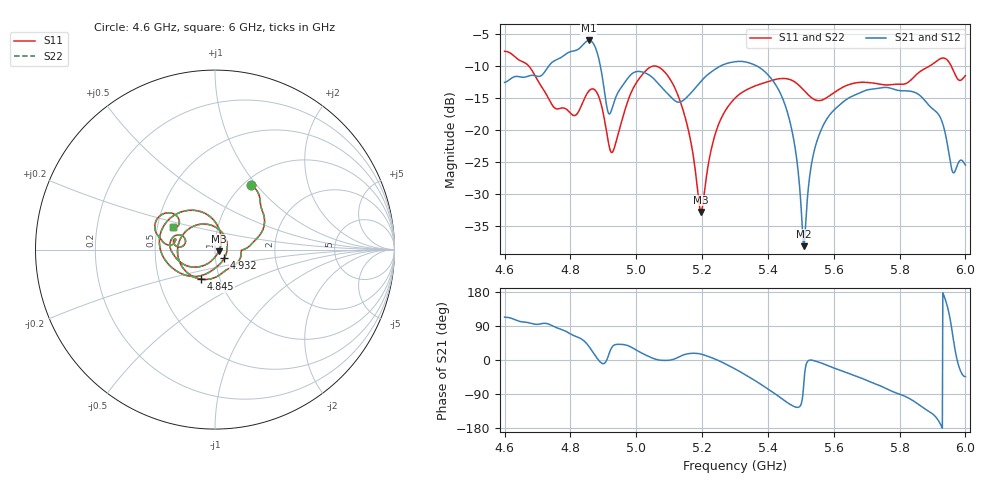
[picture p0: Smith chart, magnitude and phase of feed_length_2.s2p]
! TOUCHSTONE file generated by CST MICROWAVE STUDIO
! Date and time: Mon Dec  2 05:46:47 2024
! Project name: test_tuning.cst
! Parameters = {airCoaxOuterDiameter=3; chamferAngle=45; chamferWidth=24; connectorLength=10; drillingHoleDiameter=4.1; feedLength=30; flareDiameter=130; flareLength=70; gratingDistance=0; gratingGap=1.90274; outletLength=30; polarizerLength=134; probe1Diameter=1.3; probe1Distance=14; probe1Length=1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
! Header version: 2024
! Port assignment regex: !\s*Touchstone port\s*([0-9]+)\s*=\s*(CST MWS port|CST DES external port|CST DES block port)\s*(.+)\s* \(\"(.*)\"\)(\s*mode\s*([0-9]+))?.*
! Touchstone port assignment:
! Touchstone port 1 = CST MWS port 1 ("Input1")
! Touchstone port 2 = CST MWS port 2 ("Input2")
# GHz S MA R 50
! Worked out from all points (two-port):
!   1001 points, 4.6 GHz to 6 GHz, reference 50 ohm
!   highest |S21| = -5.99 dB at 4.856 GHz (marker M1); lowest = -38.2 dB at 5.509 GHz (marker M2)
!   |S21| within 3 dB of the highest: 4.759 GHz to 4.887 GHz (128.1 MHz wide, 2.66 % of centre)
!   lowest |S11| = -32.8 dB at 5.196 GHz (marker M3), VSWR 1.05, Z = 52.1 - j0.96 ohm
!   |S11| at or under -10 dB: 4.674 GHz to 5.052 GHz (378 MHz wide, 7.77 % of centre); 5.059 GHz to 5.891 GHz (832.2 MHz wide, 15.2 % of centre); 5.957 GHz to end of sweep
!   |S22| runs from -32.8 to -7.7 dB; largest |S21 - S12| = 1.2e-06
!   S11 on the Smith chart (normalised r, x): 4.6 GHz: 1.08, +0.94; 4.845 GHz: 0.82, -0.28; 4.932 GHz: 1.10, -0.11; 6 GHz: 0.60, +0.17
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4.6  0.4127 61.1  0.2356 113.1  0.2356 113.1  0.4127 61.1
4.8338  0.1562 -90.7  0.4517 55.2  0.4517 55.2  0.1562 -90.7
4.845  0.1814 -114.6  0.4844 47.3  0.4844 47.3  0.1814 -114.6
4.8562  0.202 -142.0  0.5018 35.8  0.5018 35.8  0.202 -142.0
4.8926  0.1614 118.6  0.3007 -6.9  0.3007 -6.9  0.1614 118.6
4.9318  0.07045 -43.2  0.1633 38.7  0.1633 38.7  0.07045 -43.2
4.9934  0.2186 -139.4  0.2823 29.6  0.2823 29.6  0.2186 -139.4
5.0676  0.3109 150.3  0.2291 0.3  0.2291 0.3  0.3109 150.3
5.1432  0.1401 85.7  0.1706 13.3  0.1706 13.3  0.1401 85.7
5.1964  0.0228 -23.8  0.2401 15.5  0.2401 15.5  0.0228 -23.8
5.2412  0.09502 -120.2  0.3005 1.9  0.3005 1.9  0.09502 -120.2
5.3  0.1772 -148.7  0.342 -23.5  0.342 -23.5  0.1772 -148.7
5.4442  0.2528 172.5  0.1776 -103.3  0.1776 -103.3  0.2528 172.5
5.482  0.2371 161.3  0.07404 -123.6  0.07404 -123.6  0.2371 161.3
5.5086  0.2052 157.1  0.0123 -67.5  0.0123 -67.5  0.2052 157.1
5.5338  0.1778 160.1  0.05663 -0.5  0.05663 -0.5  0.1778 160.1
5.6024  0.1968 175.9  0.1444 -21.7  0.1444 -21.7  0.1968 175.9
5.7676  0.2251 166.5  0.2138 -78.9  0.2138 -78.9  0.2251 166.5
5.8684  0.2934 171.5  0.1796 -123.9  0.1796 -123.9  0.2934 171.5
5.9258  0.3626 157.3  0.1219 -172.0  0.1219 -172.0  0.3626 157.3
5.9622  0.2962 138.8  0.04637 61.6  0.04637 61.6  0.2962 138.8
6  0.2661 151.5  0.05313 -43.8  0.05313 -43.8  0.2661 151.5
